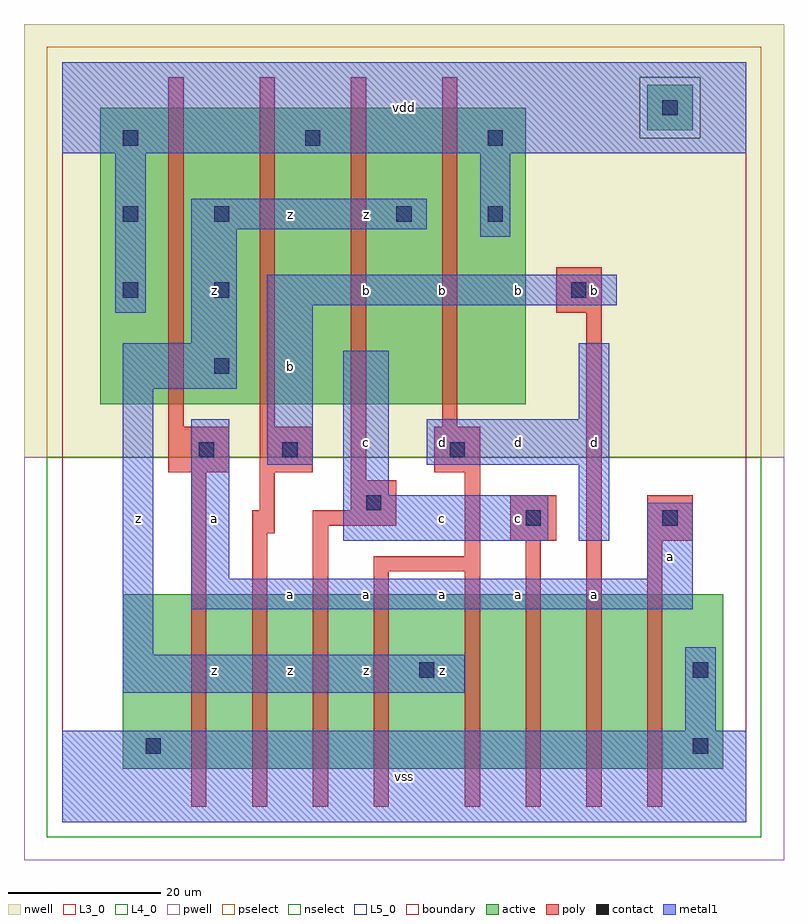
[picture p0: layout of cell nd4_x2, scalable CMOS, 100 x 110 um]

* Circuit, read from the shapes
.subckt nd4_x2 a b c d vdd vss z
M1 n1 a vss VSUBS nfet w=23u l=2u
M2 n2 b n1 VSUBS nfet w=23u l=2u
M3 n3 c n2 VSUBS nfet w=23u l=2u
M4 z d n3 VSUBS nfet w=23u l=2u
M5 n4 d z VSUBS nfet w=23u l=2u
M6 n5 c n4 VSUBS nfet w=23u l=2u
M7 n6 b n5 VSUBS nfet w=23u l=2u
M8 vss a n6 VSUBS nfet w=23u l=2u
M9 z a vdd vdd pfet w=39u l=2u
M10 vdd b z vdd pfet w=39u l=2u
M11 z c vdd vdd pfet w=39u l=2u
M12 vdd d z vdd pfet w=39u l=2u
.ends

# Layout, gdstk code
import gdstk
lib = gdstk.Library(unit=1e-6, precision=1e-09)
def R(c, l, rs):  # rectangles x0, y0, x1, y1
    for r in rs: c.add(gdstk.rectangle(r[:2], r[2:], *l))
def A(c, l, x, y, w, h, nx, ny, dx, dy):  # array of equal rectangles
    R(c, l, [(x+i*dx, y+j*dy, x+i*dx+w, y+j*dy+h) for i in range(nx) for j in range(ny)])
L3_0 = (3, 0)
L4_0 = (4, 0)
L5_0 = (5, 0)
contact = (25, 0)
pwell = (41, 0)
nwell = (42, 0)
active = (43, 0)
pselect = (44, 0)
nselect = (45, 0)
poly = (46, 0)
metal1 = (49, 0)
boundary = (63, 0)

nd4_x2 = lib.new_cell('nd4_x2')
R(nd4_x2, L3_0, [(8,7,87,30)])
R(nd4_x2, L4_0, [(5,55,61,94)])
R(nd4_x2, L5_0, [(77,91,83,97)])
A(nd4_x2, contact, 20, 59, 2, 2, 1, 3, 0, 10)
A(nd4_x2, contact, 8, 89, 2, 2, 3, 1, 24, 0)
R(nd4_x2, contact, [(11,9,13,11), (83,9,85,11), (47,19,49,21), (83,19,85,21), (61,39,63,41), (79,39,81,41), (40,41,42,43), (18,48,20,50), (29,48,31,50), (51,48,53,50), (8,69,10,71), (67,69,69,71), (8,79,10,81), (44,79,46,81), (56,79,58,81), (79,93,81,95)])
R(nd4_x2, pwell, [(-5,-5,95,48)])
R(nd4_x2, nwell, [(-5,48,95,105)])
R(nd4_x2, active, [(8,7,87,30), (5,55,61,94), (77,91,83,97)])
R(nd4_x2, pselect, [(-2,48,92,90), (-2,90,76,98), (84,90,92,98), (-2,98,92,102)])
R(nd4_x2, nselect, [(-2,-2,92,48), (76,90,84,98)])
R(nd4_x2, poly, [(17,2,19,46), (25,2,27,38), (33,2,35,39), (41,2,43,33), (53,2,55,33), (61,2,63,37), (69,2,71,67), (77,2,79,37), (41,33,55,35), (53,35,55,46), (59,37,65,43), (77,37,83,43), (25,38,28,41), (33,39,44,41), (26,41,28,46), (38,41,44,45), (38,45,40,98), (14,46,22,52), (26,46,33,52), (49,46,55,52), (14,52,16,98), (26,52,28,98), (50,52,52,98), (65,67,71,73)])
R(nd4_x2, metal1, [(0,0,90,12), (82,12,86,23), (8,17,53,22), (8,22,12,57), (17,28,83,32), (17,32,22,53), (77,32,83,42), (37,37,64,43), (68,37,72,47), (37,43,43,62), (27,47,33,68), (48,47,72,53), (68,53,72,63), (8,57,23,63), (17,63,23,78), (7,67,11,88), (27,68,73,72), (55,77,59,88), (17,78,48,82), (0,88,90,100)])
R(nd4_x2, boundary, [(0,0,90,100)])
nd4_x2.add(gdstk.Label('z', (10,40), layer=49, texttype=0))
nd4_x2.add(gdstk.Label('z', (30,20), layer=49, texttype=0))
nd4_x2.add(gdstk.Label('z', (20,20), layer=49, texttype=0))
nd4_x2.add(gdstk.Label('a', (30,30), layer=49, texttype=0))
nd4_x2.add(gdstk.Label('a', (20,40), layer=49, texttype=0))
nd4_x2.add(gdstk.Label('b', (30,60), layer=49, texttype=0))
nd4_x2.add(gdstk.Label('z', (20,70), layer=49, texttype=0))
nd4_x2.add(gdstk.Label('z', (30,80), layer=49, texttype=0))
nd4_x2.add(gdstk.Label('vss', (45,6), layer=49, texttype=0))
nd4_x2.add(gdstk.Label('z', (40,20), layer=49, texttype=0))
nd4_x2.add(gdstk.Label('z', (50,20), layer=49, texttype=0))
nd4_x2.add(gdstk.Label('a', (40,30), layer=49, texttype=0))
nd4_x2.add(gdstk.Label('a', (50,30), layer=49, texttype=0))
nd4_x2.add(gdstk.Label('c', (50,40), layer=49, texttype=0))
nd4_x2.add(gdstk.Label('c', (40,50), layer=49, texttype=0))
nd4_x2.add(gdstk.Label('d', (50,50), layer=49, texttype=0))
nd4_x2.add(gdstk.Label('b', (50,70), layer=49, texttype=0))
nd4_x2.add(gdstk.Label('b', (40,70), layer=49, texttype=0))
nd4_x2.add(gdstk.Label('z', (40,80), layer=49, texttype=0))
nd4_x2.add(gdstk.Label('vdd', (45,94), layer=49, texttype=0))
nd4_x2.add(gdstk.Label('a', (60,30), layer=49, texttype=0))
nd4_x2.add(gdstk.Label('a', (70,30), layer=49, texttype=0))
nd4_x2.add(gdstk.Label('c', (60,40), layer=49, texttype=0))
nd4_x2.add(gdstk.Label('d', (70,50), layer=49, texttype=0))
nd4_x2.add(gdstk.Label('d', (60,50), layer=49, texttype=0))
nd4_x2.add(gdstk.Label('b', (70,70), layer=49, texttype=0))
nd4_x2.add(gdstk.Label('b', (60,70), layer=49, texttype=0))
nd4_x2.add(gdstk.Label('a', (80,35), layer=49, texttype=0))

lib.write_gds('nd4_x2.gds')
